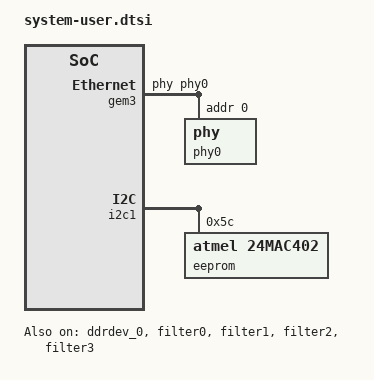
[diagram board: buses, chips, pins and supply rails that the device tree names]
/include/ "system-conf.dtsi"
/include/ "delilah.dtsi"

/ {
	/delete-node/ gpio-keys;
	/delete-node/ leds;
};

&qspi {
	has-io-mode;
};

&sdhci1 {
	disable-wp;
};

&gem3 {
	phy-handle = <&phy0>;
	pinctrl-names = "default";
	pinctrl-0 = <&pinctrl_gem3_default>;
	/delete-node/ phy@c;
	phy0: phy@0 {
		reg = <0x0>;
		ti,rx-internal-delay = <0x8>;
		ti,tx-internal-delay = <0xa>;
		ti,fifo-depth = <0x1>;
		ti,rxctrl-strap-worka;
	};
};

&i2c0 {
	/delete-node/ gpio@20;
	/delete-node/ gpio@21;
	/delete-node/ i2c-mux@75;
};

&i2c1 {
	/delete-node/ i2c-mux@74;
	/delete-node/ i2c-mux@75;
	eeprom: eeprom@5c {
		compatible = "atmel,24mac402";
		reg = <0x5c>;
	};
};

&pinctrl0 {
	/delete-node/ usb0-default;
	/delete-node/ can1-default;

	pinctrl_gpio_default: gpio-default {
		mux-sw {
			function = "gpio0";
			groups = "gpio0_35_grp", "gpio0_36_grp", "gpio0_37_grp", "gpio0_38_grp", "gpio0_39_grp", "gpio0_40_grp", "gpio0_41_grp", "gpio0_42_grp", "gpio0_43_grp", "gpio0_44_grp";
		};

		conf-sw {
			groups = "gpio0_35_grp", "gpio0_36_grp", "gpio0_37_grp", "gpio0_38_grp", "gpio0_39_grp", "gpio0_40_grp", "gpio0_41_grp", "gpio0_42_grp", "gpio0_43_grp", "gpio0_44_grp";
			slew-rate = <1>;
			io-standard = <1>;
		};

		conf-pull-up {
			pins = "MIO35", "MIO36", "MIO40", "MIO41";
			bias-pull-up;
		};

		conf-pull-down {
			pins = "MIO39", "MIO44";
			bias-pull-down;
		};

		conf-pull-none {
			pins = "MIO37", "MIO38", "MIO42", "MIO43";
			bias-disable;
		};

		/delete-node/ mux-msp;
		/delete-node/ conf-msp;

	};

	pinctrl_sdhci1_default: sdhci1-default {
		mux {
			groups = "sdio1_2_grp";
		};

		conf {
			groups = "sdio1_2_grp";
		};

		/delete-node/ mux-wp;
		/delete-node/ conf-wp;
	};
};

&can1 {
	status = "disabled";
	/delete-property/ pinctrl-0;
};

&usb0 {
	/delete-property/ pinctrl-0;
};
	&amba_pl {

		 ddrdev_0: ddrdev@1000000000 {
					compatible = "generic-uio";
					status = "okay";
					reg = <0x10 0x0 0x4 0x0>;
		 };


                 filter0: filter0@b0000000 {
                                        compatible = "generic-uio";
                                        status = "okay";
					reg = <0x0 0xb0000000 0x0 0x10000>;
		 };

                 filter1: filter1@b0010000 {
                                        compatible = "generic-uio";
                                        status = "okay";
                                        reg = <0x0 0xb0010000 0x0 0x10000>;
                 };

                 filter2: filter2@b0020000 {
                                        compatible = "generic-uio";
                                        status = "okay";
                                        reg = <0x0 0xb0020000 0x0 0x10000>;
                 };

                 filter3: filter3@b0030000 {
                                        compatible = "generic-uio";
                                        status = "okay";
                                        reg = <0x0 0xb0030000 0x0 0x10000>;
                 };
	};
